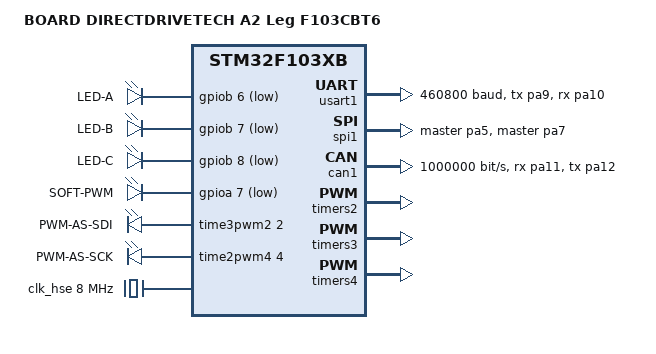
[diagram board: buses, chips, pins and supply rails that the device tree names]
/*
 * Copyright 2021 The Chromium OS Authors
 *
 * SPDX-License-Identifier: Apache-2.0
 */

/dts-v1/;
#include <st/f1/stm32f103Xb.dtsi>
#include <st/f1/stm32f103c(8-b)tx-pinctrl.dtsi>

/ {
    model = "BOARD DIRECTDRIVETECH A2 Leg F103CBT6";
    compatible = "DirectDriveTech,A2_Leg_F103CBT6";

    chosen {
		zephyr,console = &usart1;
		zephyr,shell-uart = &usart1;
		zephyr,sram = &sram0;
		zephyr,flash = &flash0;
	};

	rtt0: rtt_chan0 {
		compatible = "segger,rtt-uart";
		status = "okay";
	};

    leds {
		compatible = "gpio-leds";
		board_led_a: led_red{
			gpios = <&gpiob 6 GPIO_ACTIVE_LOW>;
			label = "LED-A";
		};
		board_led_b: led_green{
			gpios = <&gpiob 7 GPIO_ACTIVE_LOW>;
			label = "LED-B";
		};
		board_led_c: led_blue{
			gpios = <&gpiob 8 GPIO_ACTIVE_LOW>;
			label = "LED-C";
		};
		soft_pwm: soft_pwm{
			gpios = <&gpioa 7 GPIO_ACTIVE_LOW>;
			label = "SOFT-PWM";
		};
	};

	pwmsdi {
		compatible = "pwm-leds";
		status = "okay";

		pwm_sdi: pwm_sdi{
			label = "PWM-AS-SDI";
			pwms = <&time3pwm2 2 1000 PWM_POLARITY_NORMAL>;
		};
	};

	pwmsck {
		compatible = "pwm-leds";
		status = "okay";

		pwm_sck: pwm_sck{
			label = "PWM-AS-SCK";
			pwms = <&time2pwm4 4 1000 PWM_POLARITY_NORMAL>;
		};
	};


    aliases {
        boardleda = &board_led_a;
        boardledb = &board_led_b;
        boardledc = &board_led_c;
		watchdog0 = &iwdg;
		pwmassck = &pwm_sck;
		pwmassdi = &pwm_sdi;
		softpwm = &soft_pwm;
    };
};

&clk_hse {
    clock-frequency = <DT_FREQ_M(8)>;
    status = "okay";
};

&pll {
    mul = <8>;
	clocks = <&clk_hse>;
	status = "okay";
};

&rcc {
    clocks = <&pll>;
    clock-frequency = <DT_FREQ_M(72)>;
    ahb-prescaler = <1>;
    apb1-prescaler = <2>;
    apb2-prescaler = <2>;
};

&usart1 {
	pinctrl-0 = <&usart1_tx_pa9 &usart1_rx_pa10>;
	pinctrl-names = "default";
	current-speed = <460800>;
	status = "okay";
};

&spi1 {
	pinctrl-0 = <&spi1_sck_master_pa5 &spi1_mosi_master_pa7>;
	cs-gpios = <&gpioa 4 GPIO_ACTIVE_LOW>;
	pinctrl-names = "default";
	status = "okay";
};

&can1 {
	pinctrl-0 = <&can_rx_pa11 &can_tx_pa12>;
	pinctrl-names = "default";
	bus-speed = <1000000>;
	sjw = <1>;
	prop-seg = <0>;
	phase-seg1 = <4>;
	phase-seg2 = <2>;
	status = "okay";
};

&timers2 {
	st,prescaler = <1>;
	status = "okay";

	time2pwm4: pwm {
		status = "okay";
		pinctrl-0 = <&tim2_ch4_pwm_pa3>;
		pinctrl-names = "default";
	};
};

&timers3 {
	st,prescaler = <1000>;
	status = "okay";

	time3pwm2: pwm {
		status = "okay";
		pinctrl-0 = <&tim3_ch2_pwm_pa7>;
		pinctrl-names = "default";
	};
};

&timers4 {
	st,prescaler = <10000>;
	status = "okay";

	time4pwm1: pwm {
		status = "okay";
		pinctrl-0 = <&tim4_ch1_pwm_pb6>;
		pinctrl-names = "default";
	};
	time4pwm2: pwm {
		status = "okay";
		pinctrl-0 = <&tim4_ch2_pwm_pb7>;
		pinctrl-names = "default";
	};
};

&flash0 {
	partitions {
		compatible = "fixed-partitions";
		#address-cells = <1>;
		#size-cells = <1>;

		/* 32KB for bootloader */
		boot_partition: partition@0 {
			label = "mcuboot";
			reg = <0x00000000 DT_SIZE_K(32)>;
			read-only;
		};

		/* 32KB for Store User Data */
		user_partition: partition@8000 {
			label = "userstorage";
			reg = <0x00008000 DT_SIZE_K(32)>;
		};

		/* Set 2KB of storage at the end of 128KB flash */
		storage_partition: partition@1f800 {
			label = "storage";
			reg = <0x0001f800 DT_SIZE_K(2)>;
		};
	};
};
